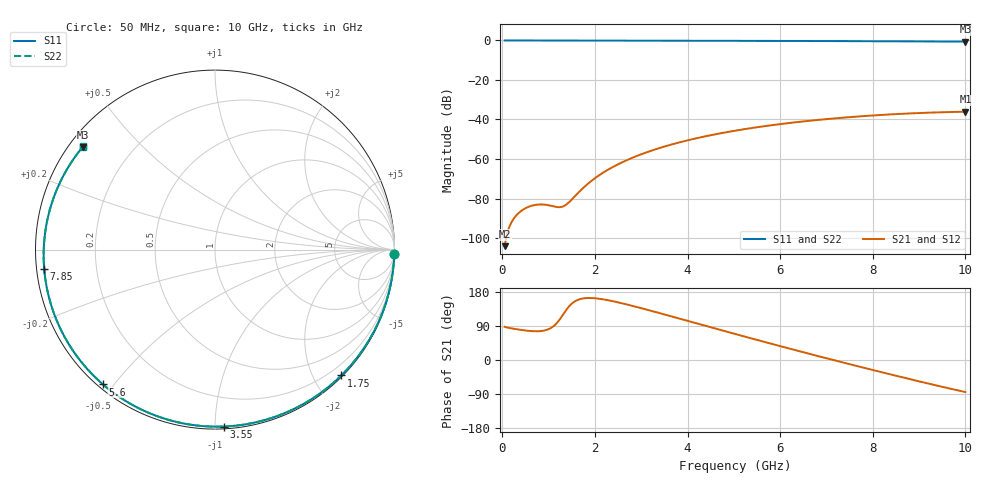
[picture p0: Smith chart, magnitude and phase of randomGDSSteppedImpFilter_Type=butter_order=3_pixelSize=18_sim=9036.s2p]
! freq	dB(S11)	phase(S11)	dB(S12)	phase(S12)
!  dB(S21)	phase(S21)	dB(S22)	phase(S22)
!S-par simulation data
#  GHz  S  DB  R 50
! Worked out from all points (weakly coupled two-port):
!   200 points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, 50 MHz to 10 GHz, reference 50 ohm
!   highest |S21| = -36.07 dB at 10 GHz (marker M1); lowest = -104.1 dB at 50 MHz (marker M2)
!   lowest |S11| = -0.6 dB at 10 GHz (marker M3), VSWR 28.85, Z = 1.94 + j17.1 ohm
!   |S11| at or under -10 dB: nowhere
!   |S22| runs from -0.6 to 0.0 dB; largest |S21 - S12| = 0
!   S11 on the Smith chart (normalised r, x): 50 MHz: 1, -90; 1.75 GHz: 0.02, -2.42; 3.55 GHz: 0.01, -1.05; 5.6 GHz: 0.01, -0.47; 7.85 GHz: 0.02, -0.06; 10 GHz: 0.04, +0.34
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0.05  -0.00 -1.3  -104.11 87.7  -104.11 87.7  -0.00 -1.3
0.4  -0.02 -10.4  -86.40 79.5  -86.40 79.5  -0.02 -10.4
0.75  -0.03 -19.5  -83.11 75.9  -83.11 75.9  -0.03 -19.6
1.1  -0.04 -28.5  -83.92 88.6  -83.92 88.6  -0.04 -28.6
1.5  -0.05 -38.7  -80.51 148.7  -80.51 148.7  -0.05 -38.7
1.55  -0.05 -39.9  -79.28 153.4  -79.28 153.4  -0.05 -40.0
1.75  -0.06 -44.9  -74.57 162.6  -74.57 162.6  -0.06 -44.9
2.05  -0.07 -52.2  -68.89 162.3  -68.89 162.3  -0.07 -52.3
2.45  -0.08 -61.9  -63.27 153.5  -63.27 153.5  -0.08 -61.9
2.9  -0.09 -72.4  -58.51 140.0  -58.51 140.0  -0.09 -72.4
3.4  -0.11 -83.7  -54.41 123.6  -54.41 123.6  -0.11 -83.8
3.55  -0.11 -87.0  -53.35 118.6  -53.35 118.6  -0.11 -87.1
4.25  -0.14 -102.2  -49.19 94.9  -49.19 94.9  -0.14 -102.3
5.05  -0.18 -118.7  -45.57 67.9  -45.57 67.9  -0.18 -118.8
5.6  -0.21 -129.7  -43.58 49.7  -43.58 49.7  -0.21 -129.8
6.15  -0.24 -140.5  -41.91 31.7  -41.91 31.7  -0.24 -140.6
6.7  -0.28 -151.2  -40.49 14.1  -40.49 14.1  -0.28 -151.3
7.3  -0.33 -162.8  -39.19 -4.8  -39.19 -4.8  -0.33 -162.9
7.85  -0.38 -173.5  -38.20 -21.8  -38.20 -21.8  -0.38 -173.6
8.35  -0.42 176.6  -37.46 -37.0  -37.46 -37.0  -0.42 176.5
9.2  -0.51 159.3  -36.55 -62.2  -36.55 -62.2  -0.51 159.1
10  -0.60 142.2  -36.07 -84.6  -36.07 -84.6  -0.60 142.0
